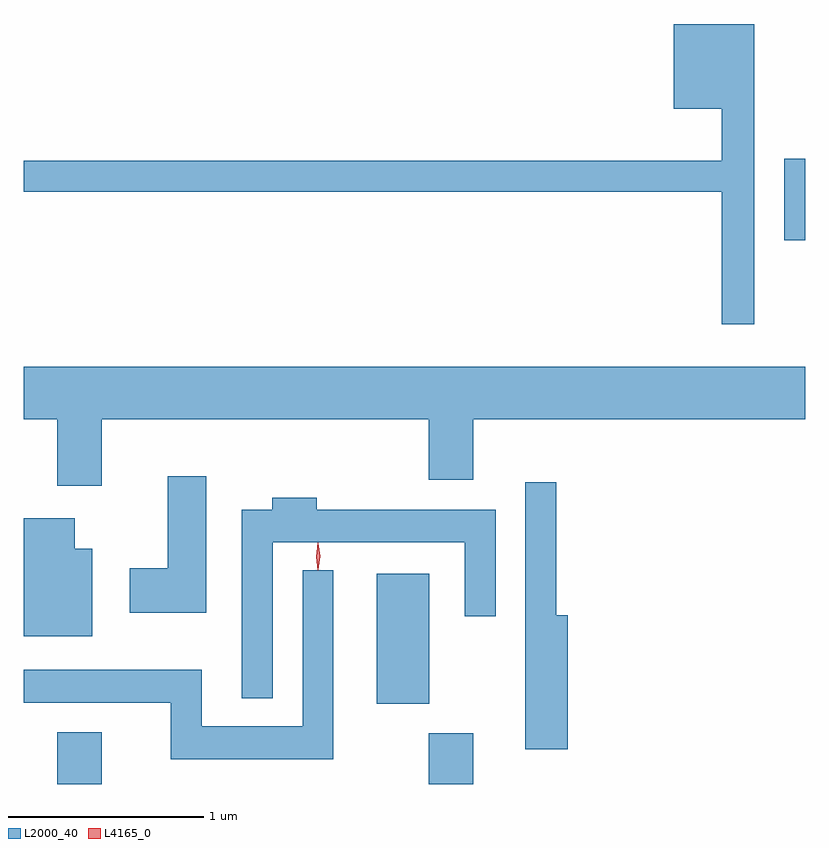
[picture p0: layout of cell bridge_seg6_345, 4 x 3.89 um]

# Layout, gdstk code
import gdstk
lib = gdstk.Library(unit=1e-6, precision=1e-09)
def R(c, l, rs):  # rectangles x0, y0, x1, y1
    for r in rs: c.add(gdstk.rectangle(r[:2], r[2:], *l))
def P(c, l, *ps):  # polygons
    for p in ps: c.add(gdstk.Polygon(p, *l))
L2000_40 = (2000, 40)
L4165_0 = (4165, 0)

bridge_seg6_345 = lib.new_cell('bridge_seg6_345')
R(bridge_seg6_345, L2000_40, [(1289.211,1554.829,1289.439,1555.094), (1291.111,1554.829,1291.339,1555.089), (1290.846,1555.241,1291.114,1555.904), (1292.931,1557.611,1293.039,1558.029)])
P(bridge_seg6_345, L2000_40, [(1292.779,1558.719),(1292.366,1558.719),(1292.366,1558.286),(1292.611,1558.286),(1292.611,1558.019),(1289.039,1558.019),(1289.039,1557.861),(1292.611,1557.861),(1292.611,1557.183),(1292.779,1557.183)],
  [(1289.439,1556.696),(1291.111,1556.696),(1291.111,1556.386),(1291.339,1556.386),(1291.339,1556.696),(1293.039,1556.696),(1293.039,1556.964),(1289.039,1556.964),(1289.039,1556.696),(1289.211,1556.696),(1289.211,1556.356),(1289.439,1556.356)],
  [(1289.974,1556.404),(1289.776,1556.404),(1289.776,1555.934),(1289.581,1555.934),(1289.581,1555.706),(1289.974,1555.706)],
  [(1291.824,1555.694),(1291.764,1555.694),(1291.764,1556.373),(1291.606,1556.373),(1291.606,1555.006),(1291.824,1555.006)],
  [(1290.314,1556.066),(1291.296,1556.066),(1291.296,1555.688),(1291.454,1555.688),(1291.454,1556.234),(1290.539,1556.234),(1290.539,1556.294),(1290.311,1556.294),(1290.311,1556.234),(1290.156,1556.234),(1290.156,1555.268),(1290.314,1555.268)],
  [(1289.389,1556.034),(1289.299,1556.034),(1289.299,1556.189),(1289.039,1556.189),(1289.039,1555.586),(1289.389,1555.586)],
  [(1290.624,1555.923),(1290.466,1555.923),(1290.466,1555.124),(1289.949,1555.124),(1289.949,1555.414),(1289.039,1555.414),(1289.039,1555.246),(1289.791,1555.246),(1289.791,1554.956),(1290.624,1554.956)])
P(bridge_seg6_345, L4165_0, [(1290.546,1555.927),(1290.546,1555.927),(1290.536,1555.994),(1290.546,1556.06),(1290.546,1556.061),(1290.547,1556.06),(1290.556,1555.994),(1290.547,1555.927)],
  [(1290.545,1555.924),(1290.545,1555.924),(1290.535,1555.993),(1290.545,1556.063),(1290.545,1556.063),(1290.546,1556.063),(1290.555,1555.993),(1290.546,1555.924)])

lib.write_gds('bridge_seg6_345.gds')
